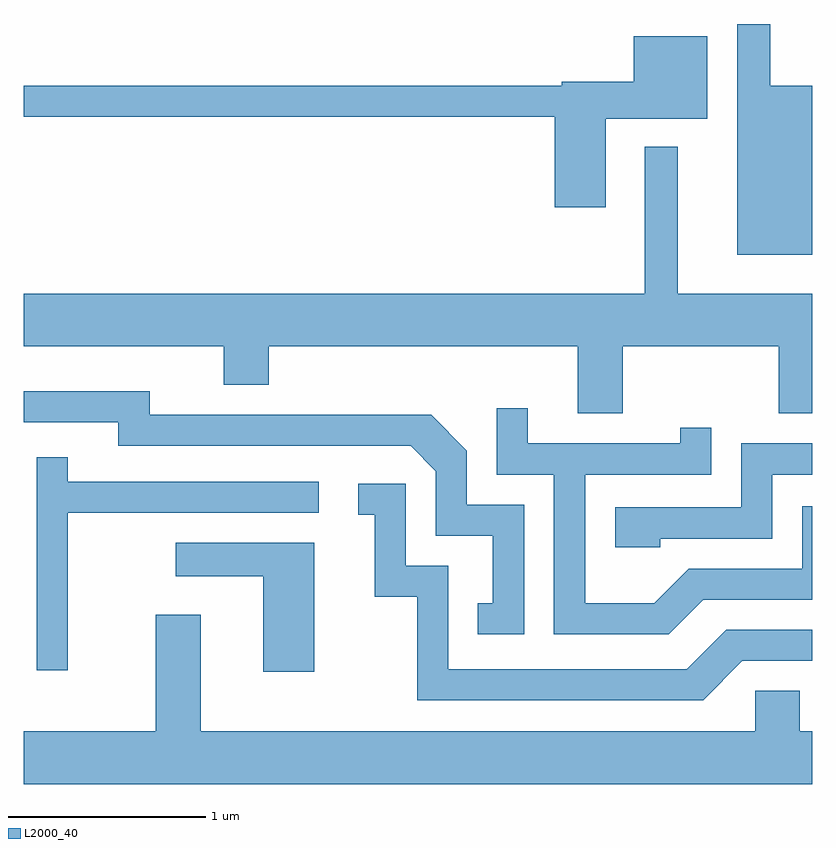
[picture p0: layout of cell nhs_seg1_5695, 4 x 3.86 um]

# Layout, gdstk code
import gdstk
lib = gdstk.Library(unit=1e-6, precision=1e-09)
def P(c, l, *ps):  # polygons
    for p in ps: c.add(gdstk.Polygon(p, *l))
L2000_40 = (2000, 40)

nhs_seg1_5695 = lib.new_cell('nhs_seg1_5695')
P(nhs_seg1_5695, L2000_40, [(361.611,845.399),(361.399,845.399),(361.399,845.712),(361.231,845.712),(361.231,844.541),(361.611,844.541)],
  [(360.564,845.231),(361.079,845.231),(361.079,845.649),(360.706,845.649),(360.706,845.419),(360.341,845.419),(360.341,845.399),(357.611,845.399),(357.611,845.241),(360.306,845.241),(360.306,844.781),(360.564,844.781)],
  [(360.649,844.076),(361.441,844.076),(361.441,843.736),(361.611,843.736),(361.611,844.344),(360.929,844.344),(360.929,845.088),(360.761,845.088),(360.761,844.344),(357.611,844.344),(357.611,844.076),(358.626,844.076),(358.626,843.881),(358.854,843.881),(358.854,844.076),(360.421,844.076),(360.421,843.736),(360.649,843.736)],
  [(360.149,843.274),(359.859,843.274),(359.859,843.547),(359.677,843.729),(358.249,843.729),(358.249,843.849),(357.611,843.849),(357.611,843.691),(358.091,843.691),(358.091,843.571),(359.574,843.571),(359.701,843.444),(359.701,843.116),(359.991,843.116),(359.991,842.774),(359.913,842.774),(359.913,842.616),(360.149,842.616)],
  [(361.057,842.791),(361.611,842.791),(361.611,843.264),(361.561,843.264),(361.561,842.949),(360.984,842.949),(360.809,842.774),(360.459,842.774),(360.459,843.426),(361.099,843.426),(361.099,843.663),(360.941,843.663),(360.941,843.584),(360.169,843.584),(360.169,843.763),(360.011,843.763),(360.011,843.426),(360.301,843.426),(360.301,842.616),(360.882,842.616)],
  [(360.839,843.101),(361.409,843.101),(361.409,843.426),(361.611,843.426),(361.611,843.584),(361.251,843.584),(361.251,843.259),(360.611,843.259),(360.611,843.056),(360.839,843.056)],
  [(357.834,843.231),(359.108,843.231),(359.108,843.389),(357.834,843.389),(357.834,843.513),(357.676,843.513),(357.676,842.433),(357.834,842.433)],
  [(361.257,842.481),(361.611,842.481),(361.611,842.639),(361.174,842.639),(360.974,842.439),(359.764,842.439),(359.764,842.964),(359.549,842.964),(359.549,843.379),(359.308,843.379),(359.308,843.221),(359.391,843.221),(359.391,842.806),(359.606,842.806),(359.606,842.281),(361.057,842.281)],
  [(359.084,843.079),(358.383,843.079),(358.383,842.911),(358.826,842.911),(358.826,842.426),(359.084,842.426)],
  [(361.611,842.124),(361.549,842.124),(361.549,842.329),(361.321,842.329),(361.321,842.124),(358.509,842.124),(358.509,842.714),(358.281,842.714),(358.281,842.124),(357.611,842.124),(357.611,841.856),(361.611,841.856)])

lib.write_gds('nhs_seg1_5695.gds')
